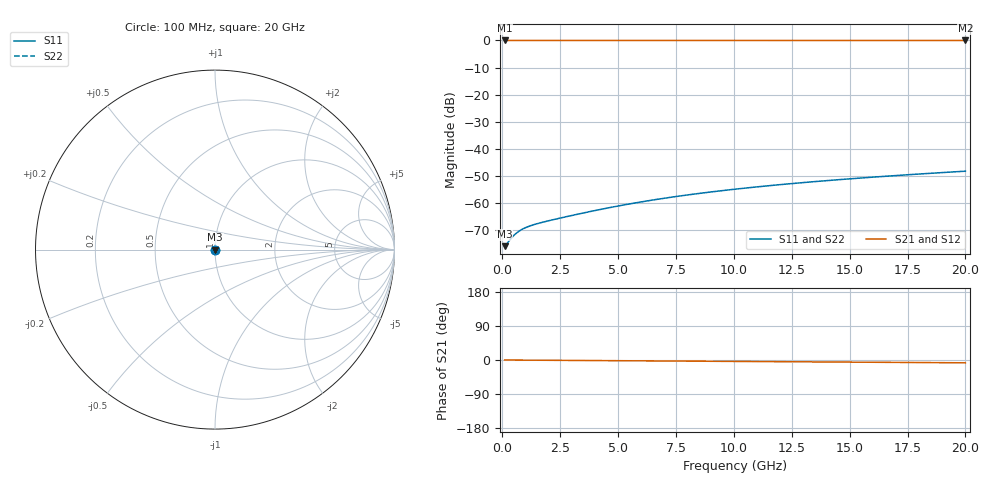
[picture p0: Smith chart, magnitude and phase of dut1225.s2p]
! Touchstone file exported from HFSS 2026.1.0
!  File:  C:/ffzhzh/LocalFiles/Ansys_Project_Files/temp_train_TSV_1225_1783193157_55132.aedt
!  Generated:  03:27:21 AM Jul  5, 2026
!  Design:  TSV
!  Project:  temp_train_TSV_1225_1783193157_55132
! Variables:
!  h_bsmrdl = 2um
!  h_ox = 20um
!  h_rdl = 5um
!  h_sub = 76.17um
!  h_tmrdl = 5um
!  h_tsv = 76.17um
!  h_via = 3um
!  l_bsmrdl = 300um
!  l_sub = 417.12um
!  l_tmrdl = 200um
!  m_sub = 200um
!  pitch = 33.74um
!  r_tsv = 8.56um
!  s_tmrdl = 10um
!  w_bsmrdl = 18um
!  w_sub = 500um
!  w_tmrdl = 12um
!  x_tsv_center1 = 206um
!  x_tsv_center2 = 524um
!  x_tsv_center3 = 736um
!  x_tsv_center4 = 1054um
!  x_tsv_center5 = 1266um
!  x_tsv_center6 = 1584um
# GHz S MA R 50.000000
! Terminal data exported
! Port[1] = TSV1_1_T1
! Port[2] = TSV1_1_T2
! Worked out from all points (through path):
!   200 points, 100 MHz to 20 GHz, reference 50 ohm
!   highest |S21| = 0.00 dB at 100 MHz (marker M1); lowest = 0.0 dB at 20 GHz (marker M2)
!   group delay of S21, straight-line fit = 1.03 ps
!   lowest |S11| = -75.8 dB at 100 MHz (marker M3), VSWR 1.00, Z = 50 + j0.00274 ohm
!   |S11| at or under -10 dB: start of sweep to end of sweep
!   |S22| runs from -75.8 to -48.2 dB; largest |S21 - S12| = 2.4e-15
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0.1  0.0001615 9.8  0.9998 -0.0  0.9998 -0.0  0.0001615 9.8
! Gamma 0 0 0 0
! Port Impedance 50 0 50 0
0.2  0.0001793 16.8  0.9998 -0.1  0.9998 -0.1  0.0001793 16.8
0.4  0.0002295 21.7  0.9998 -0.2  0.9998 -0.2  0.0002295 21.7
0.5  0.0002551 21.1  0.9998 -0.2  0.9998 -0.2  0.0002551 21.1
0.6  0.000279 19.6  0.9997 -0.2  0.9997 -0.2  0.000279 19.6
0.7  0.0003007 17.6  0.9997 -0.3  0.9997 -0.3  0.0003007 17.6
0.8  0.0003202 15.3  0.9997 -0.3  0.9997 -0.3  0.0003202 15.3
1  0.0003538 10.5  0.9997 -0.4  0.9997 -0.4  0.0003538 10.5
1.3  0.0003949 3.8  0.9996 -0.5  0.9996 -0.5  0.0003949 3.8
1.7  0.0004415 -4.0  0.9996 -0.6  0.9996 -0.6  0.0004415 -4.0
2.4  0.0005205 -14.7  0.9995 -0.9  0.9995 -0.9  0.0005205 -14.7
3.5  0.0006608 -26.9  0.9994 -1.3  0.9994 -1.3  0.0006607 -26.9
4.4  0.0007929 -34.4  0.9993 -1.7  0.9993 -1.7  0.0007929 -34.4
5.2  0.0009213 -39.8  0.9993 -2.0  0.9993 -2.0  0.0009212 -39.8
6.8  0.0012 -48.2  0.9992 -2.5  0.9992 -2.5  0.001199 -48.2
8.4  0.001496 -54.5  0.9991 -3.1  0.9991 -3.1  0.001496 -54.5
10.1  0.001824 -59.7  0.999 -3.8  0.999 -3.8  0.001824 -59.7
11.7  0.00214 -63.6  0.9989 -4.4  0.9989 -4.4  0.00214 -63.6
13.4  0.002484 -66.9  0.9988 -5.0  0.9988 -5.0  0.002483 -66.9
15  0.002813 -69.5  0.9988 -5.6  0.9988 -5.6  0.002813 -69.5
16.7  0.003172 -71.9  0.9987 -6.2  0.9987 -6.2  0.003172 -71.9
20  0.003893 -75.6  0.9985 -7.4  0.9985 -7.4  0.003893 -75.6
